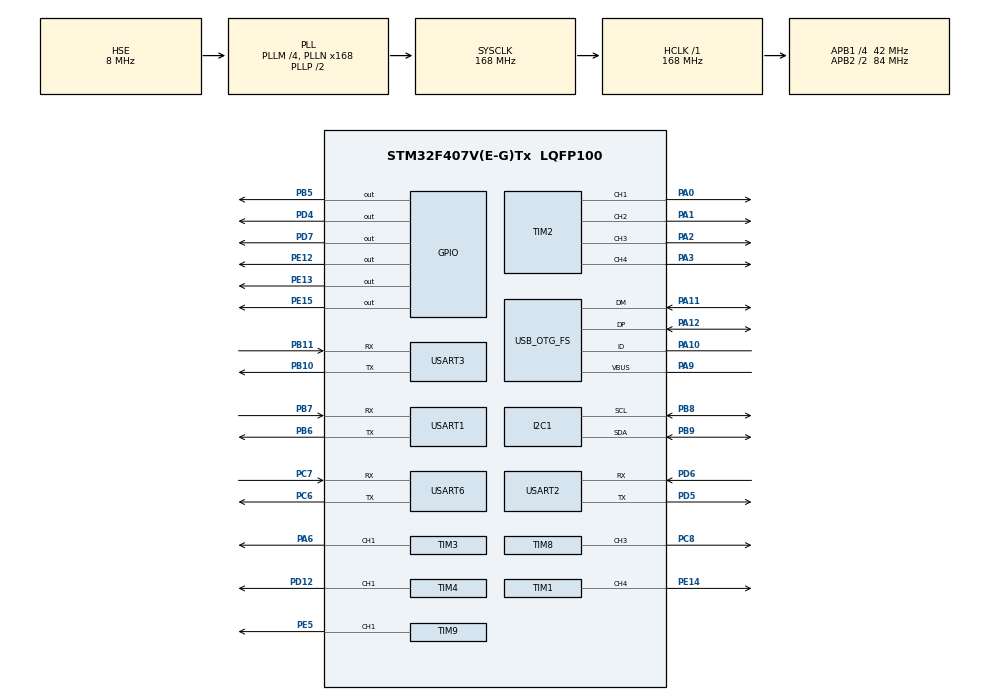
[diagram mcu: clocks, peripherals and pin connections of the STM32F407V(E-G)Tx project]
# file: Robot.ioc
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Dma.I2C1_RX.0.Direction=DMA_PERIPH_TO_MEMORY
Dma.I2C1_RX.0.FIFOMode=DMA_FIFOMODE_DISABLE
Dma.I2C1_RX.0.Instance=DMA1_Stream0
Dma.I2C1_RX.0.MemDataAlignment=DMA_MDATAALIGN_BYTE
Dma.I2C1_RX.0.MemInc=DMA_MINC_ENABLE
Dma.I2C1_RX.0.Mode=DMA_NORMAL
Dma.I2C1_RX.0.PeriphDataAlignment=DMA_PDATAALIGN_BYTE
Dma.I2C1_RX.0.PeriphInc=DMA_PINC_DISABLE
Dma.I2C1_RX.0.Priority=DMA_PRIORITY_LOW
Dma.I2C1_TX.1.Direction=DMA_MEMORY_TO_PERIPH
Dma.I2C1_TX.1.FIFOMode=DMA_FIFOMODE_DISABLE
Dma.I2C1_TX.1.Instance=DMA1_Stream7
Dma.I2C1_TX.1.MemDataAlignment=DMA_MDATAALIGN_BYTE
Dma.I2C1_TX.1.MemInc=DMA_MINC_ENABLE
Dma.I2C1_TX.1.Mode=DMA_NORMAL
Dma.I2C1_TX.1.PeriphDataAlignment=DMA_PDATAALIGN_BYTE
Dma.I2C1_TX.1.PeriphInc=DMA_PINC_DISABLE
Dma.I2C1_TX.1.Priority=DMA_PRIORITY_LOW
Dma.Request0=I2C1_RX
Dma.Request1=I2C1_TX
Dma.Request2=USART2_RX
Dma.Request3=USART2_TX
Dma.Request4=USART3_TX
Dma.Request5=USART3_RX
Dma.USART2_RX.2.Direction=DMA_PERIPH_TO_MEMORY
Dma.USART2_RX.2.FIFOMode=DMA_FIFOMODE_DISABLE
Dma.USART2_RX.2.Instance=DMA1_Stream5
Dma.USART2_RX.2.MemDataAlignment=DMA_MDATAALIGN_BYTE
Dma.USART2_RX.2.MemInc=DMA_MINC_ENABLE
Dma.USART2_RX.2.Mode=DMA_NORMAL
Dma.USART2_RX.2.PeriphDataAlignment=DMA_PDATAALIGN_BYTE
Dma.USART2_RX.2.PeriphInc=DMA_PINC_DISABLE
Dma.USART2_RX.2.Priority=DMA_PRIORITY_LOW
Dma.USART2_TX.3.Direction=DMA_MEMORY_TO_PERIPH
Dma.USART2_TX.3.FIFOMode=DMA_FIFOMODE_DISABLE
Dma.USART2_TX.3.Instance=DMA1_Stream6
Dma.USART2_TX.3.MemDataAlignment=DMA_MDATAALIGN_BYTE
Dma.USART2_TX.3.MemInc=DMA_MINC_ENABLE
Dma.USART2_TX.3.Mode=DMA_NORMAL
Dma.USART2_TX.3.PeriphDataAlignment=DMA_PDATAALIGN_BYTE
Dma.USART2_TX.3.PeriphInc=DMA_PINC_DISABLE
Dma.USART2_TX.3.Priority=DMA_PRIORITY_LOW
Dma.USART3_RX.5.Direction=DMA_PERIPH_TO_MEMORY
Dma.USART3_RX.5.FIFOMode=DMA_FIFOMODE_DISABLE
Dma.USART3_RX.5.Instance=DMA1_Stream1
Dma.USART3_RX.5.MemDataAlignment=DMA_MDATAALIGN_BYTE
Dma.USART3_RX.5.MemInc=DMA_MINC_ENABLE
Dma.USART3_RX.5.Mode=DMA_NORMAL
Dma.USART3_RX.5.PeriphDataAlignment=DMA_PDATAALIGN_BYTE
Dma.USART3_RX.5.PeriphInc=DMA_PINC_DISABLE
Dma.USART3_RX.5.Priority=DMA_PRIORITY_LOW
Dma.USART3_TX.4.Direction=DMA_MEMORY_TO_PERIPH
Dma.USART3_TX.4.FIFOMode=DMA_FIFOMODE_DISABLE
Dma.USART3_TX.4.Instance=DMA1_Stream3
Dma.USART3_TX.4.MemDataAlignment=DMA_MDATAALIGN_BYTE
Dma.USART3_TX.4.MemInc=DMA_MINC_ENABLE
Dma.USART3_TX.4.Mode=DMA_NORMAL
Dma.USART3_TX.4.PeriphDataAlignment=DMA_PDATAALIGN_BYTE
Dma.USART3_TX.4.PeriphInc=DMA_PINC_DISABLE
Dma.USART3_TX.4.Priority=DMA_PRIORITY_LOW
FREERTOS.Tasks01=defaultTask,24,128,StartDefaultTask,Default,NULL,Dynamic,NULL,NULL
I2C1.I2C_Mode=I2C_Fast
Mcu.Family=STM32F4
Mcu.Name=STM32F407V(E-G)Tx
Mcu.Package=LQFP100
NVIC.DMA1_Stream0_IRQn=true\:5\:0\:false\:false\:true\:true\:false\:true\:true
NVIC.DMA1_Stream1_IRQn=true\:5\:0\:false\:false\:true\:true\:false\:true\:true
NVIC.DMA1_Stream3_IRQn=true\:5\:0\:false\:false\:true\:true\:false\:true\:true
NVIC.DMA1_Stream5_IRQn=true\:5\:0\:false\:false\:true\:true\:false\:true\:true
NVIC.DMA1_Stream6_IRQn=true\:5\:0\:false\:false\:true\:true\:false\:true\:true
NVIC.DMA1_Stream7_IRQn=true\:5\:0\:false\:false\:true\:true\:false\:true\:true
NVIC.I2C1_ER_IRQn=true\:6\:0\:true\:false\:true\:true\:true\:true\:true
NVIC.I2C1_EV_IRQn=true\:6\:0\:true\:false\:true\:true\:true\:true\:true
NVIC.PriorityGroup=NVIC_PRIORITYGROUP_4
NVIC.TIM8_TRG_COM_TIM14_IRQn=true\:15\:0\:false\:false\:true\:false\:false\:true\:true
NVIC.TimeBase=TIM8_TRG_COM_TIM14_IRQn
NVIC.TimeBaseIP=TIM14
NVIC.USART2_IRQn=true\:5\:0\:false\:false\:true\:true\:true\:true\:true
NVIC.USART3_IRQn=true\:5\:0\:false\:false\:true\:true\:true\:true\:true
PA0-WKUP.Signal=S_TIM2_CH1_ETR
PA1.Signal=S_TIM2_CH2
PA10.Mode=OTG/Dual_Role_Device
PA10.Signal=USB_OTG_FS_ID
PA11.Mode=OTG/Dual_Role_Device
PA11.Signal=USB_OTG_FS_DM
PA12.Mode=OTG/Dual_Role_Device
PA12.Signal=USB_OTG_FS_DP
PA13.Mode=JTAG_4_pins
PA13.Signal=SYS_JTMS-SWDIO
PA14.Mode=JTAG_4_pins
PA14.Signal=SYS_JTCK-SWCLK
PA15.Mode=JTAG_4_pins
PA15.Signal=SYS_JTDI
PA2.Signal=S_TIM2_CH3
PA3.Signal=S_TIM2_CH4
PA6.Signal=S_TIM3_CH1
PA9.Mode=Activate_VBUS
PA9.Signal=USB_OTG_FS_VBUS
PB10.Mode=Asynchronous
PB10.Signal=USART3_TX
PB11.Mode=Asynchronous
PB11.Signal=USART3_RX
PB3.Mode=JTAG_4_pins
PB3.Signal=SYS_JTDO-SWO
PB5.Signal=GPIO_Output
PB6.Mode=Asynchronous
PB6.Signal=USART1_TX
PB7.Mode=Asynchronous
PB7.Signal=USART1_RX
PB8.Mode=I2C
PB8.Signal=I2C1_SCL
PB9.Mode=I2C
PB9.Signal=I2C1_SDA
PC6.Mode=Asynchronous
PC6.Signal=USART6_TX
PC7.Mode=Asynchronous
PC7.Signal=USART6_RX
PC8.Signal=S_TIM8_CH3
PD12.Signal=S_TIM4_CH1
PD4.Signal=GPIO_Output
PD5.Mode=Asynchronous
PD5.Signal=USART2_TX
PD6.Mode=Asynchronous
PD6.Signal=USART2_RX
PD7.Signal=GPIO_Output
PE12.Signal=GPIO_Output
PE13.Signal=GPIO_Output
PE14.Signal=S_TIM1_CH4
PE15.Signal=GPIO_Output
PE5.Signal=S_TIM9_CH1
PH0-OSC_IN.Mode=HSE-External-Oscillator
PH0-OSC_IN.Signal=RCC_OSC_IN
PH1-OSC_OUT.Mode=HSE-External-Oscillator
PH1-OSC_OUT.Signal=RCC_OSC_OUT
ProjectManager.HeapSize=0x200
ProjectManager.StackSize=0x400
ProjectManager.TargetToolchain=MDK-ARM V5.32
RCC.48MHZClocksFreq_Value=48000000
RCC.AHBFreq_Value=168000000
RCC.APB1CLKDivider=RCC_HCLK_DIV4
RCC.APB1Freq_Value=42000000
RCC.APB1TimFreq_Value=84000000
RCC.APB2CLKDivider=RCC_HCLK_DIV2
RCC.APB2Freq_Value=84000000
RCC.APB2TimFreq_Value=168000000
RCC.CortexFreq_Value=168000000
RCC.HCLKFreq_Value=168000000
RCC.HSE_VALUE=8000000
RCC.HSI_VALUE=16000000
RCC.LSE_VALUE=32768
RCC.PLLM=4
RCC.PLLN=168
RCC.PLLQ=7
RCC.SYSCLKFreq_VALUE=168000000
RCC.SYSCLKSource=RCC_SYSCLKSOURCE_PLLCLK
RCC.VCOOutputFreq_Value=336000000
SH.S_TIM1_CH4.0=TIM1_CH4,PWM Generation4 CH4
SH.S_TIM2_CH1_ETR.0=TIM2_CH1,PWM Generation1 CH1
SH.S_TIM2_CH2.0=TIM2_CH2,PWM Generation2 CH2
SH.S_TIM2_CH3.0=TIM2_CH3,PWM Generation3 CH3
SH.S_TIM2_CH4.0=TIM2_CH4,PWM Generation4 CH4
SH.S_TIM3_CH1.0=TIM3_CH1,PWM Generation1 CH1
SH.S_TIM4_CH1.0=TIM4_CH1,PWM Generation1 CH1
SH.S_TIM8_CH3.0=TIM8_CH3,PWM Generation3 CH3
SH.S_TIM9_CH1.0=TIM9_CH1,PWM Generation1 CH1
TIM1.AutoReloadPreload=TIM_AUTORELOAD_PRELOAD_ENABLE
TIM1.Channel-PWM\ Generation4\ CH4=TIM_CHANNEL_4
TIM2.AutoReloadPreload=TIM_AUTORELOAD_PRELOAD_ENABLE
TIM2.Channel-PWM\ Generation1\ CH1=TIM_CHANNEL_1
TIM2.Channel-PWM\ Generation2\ CH2=TIM_CHANNEL_2
TIM2.Channel-PWM\ Generation3\ CH3=TIM_CHANNEL_3
TIM2.Channel-PWM\ Generation4\ CH4=TIM_CHANNEL_4
TIM3.AutoReloadPreload=TIM_AUTORELOAD_PRELOAD_ENABLE
TIM3.Channel-PWM\ Generation1\ CH1=TIM_CHANNEL_1
TIM4.AutoReloadPreload=TIM_AUTORELOAD_PRELOAD_ENABLE
TIM4.Channel-PWM\ Generation1\ CH1=TIM_CHANNEL_1
TIM8.AutoReloadPreload=TIM_AUTORELOAD_PRELOAD_ENABLE
TIM8.Channel-PWM\ Generation3\ CH3=TIM_CHANNEL_3
TIM9.AutoReloadPreload=TIM_AUTORELOAD_PRELOAD_ENABLE
TIM9.Channel-PWM\ Generation1\ CH1=TIM_CHANNEL_1
USART1.VirtualMode=VM_ASYNC
USART2.VirtualMode=VM_ASYNC
USART3.VirtualMode=VM_ASYNC
USART6.VirtualMode=VM_ASYNC
VP_FREERTOS_VS_CMSIS_V2.Mode=CMSIS_V2
VP_SYS_VS_tim14.Mode=TIM14
board=custom

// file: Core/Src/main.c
/* USER CODE BEGIN Header */
/**
  ******************************************************************************
  * @file           : main.c
  * @brief          : Main program body
  ******************************************************************************
  * @attention
  *
  * Copyright (c) 2026 STMicroelectronics.
  * All rights reserved.
  *
  * This software is licensed under terms that can be found in the LICENSE file
  * in the root directory of this software component.
  * If no LICENSE file comes with this software, it is provided AS-IS.
  *
  ******************************************************************************
  */
/* USER CODE END Header */
#include "main.h"
#include "cmsis_os.h"
#include "dma.h"
#include "i2c.h"
#include "tim.h"
#include "usart.h"
#include "usb_otg.h"
#include "gpio.h"

void SystemClock_Config(void);
void MX_FREERTOS_Init(void);

int main(void)
{

  /* MCU Configuration--------------------------------------------------------*/

  /* Reset of all peripherals, Initializes the Flash interface and the Systick. */
  HAL_Init();

  /* Configure the system clock */
  SystemClock_Config();

  /* USER CODE BEGIN SysInit */
  /* 上电延时, 等电源/电压稳定后再初始化外设和启动 RTOS.
   * 放在 HAL_Init() 之后(Systick 已启动, HAL_Delay 可用),
   * 在外设初始化之前, 确保电压稳定后再配置 I2C/定时器等敏感外设. */
  HAL_Delay(3000);
  /* USER CODE END SysInit */

  /* Initialize all configured peripherals */
  MX_GPIO_Init();
  MX_DMA_Init();
  MX_I2C1_Init();
  MX_TIM2_Init();
  MX_TIM3_Init();
  MX_TIM4_Init();
  MX_TIM8_Init();
  MX_TIM9_Init();
  MX_USART1_UART_Init();
  MX_USART2_UART_Init();
  MX_USART3_UART_Init();
  MX_USART6_UART_Init();
  MX_USB_OTG_FS_USB_Init();
  MX_TIM1_Init();

  /* Init scheduler */
  osKernelInitialize();  /* Call init function for freertos objects (in cmsis_os2.c) */
  MX_FREERTOS_Init();

  /* Start scheduler */
  osKernelStart();

  /* We should never get here as control is now taken by the scheduler */

  /* Infinite loop */
  while (1)
  {

  }
}

void SystemClock_Config(void)
{
  RCC_OscInitTypeDef RCC_OscInitStruct = {0};
  RCC_ClkInitTypeDef RCC_ClkInitStruct = {0};

  /** Configure the main internal regulator output voltage
  */
  __HAL_RCC_PWR_CLK_ENABLE();
  __HAL_PWR_VOLTAGESCALING_CONFIG(PWR_REGULATOR_VOLTAGE_SCALE1);

  /** Initializes the RCC Oscillators according to the specified parameters
  * in the RCC_OscInitTypeDef structure.
  */
  RCC_OscInitStruct.OscillatorType = RCC_OSCILLATORTYPE_HSE;
  RCC_OscInitStruct.HSEState = RCC_HSE_ON;
  RCC_OscInitStruct.PLL.PLLState = RCC_PLL_ON;
  RCC_OscInitStruct.PLL.PLLSource = RCC_PLLSOURCE_HSE;
  RCC_OscInitStruct.PLL.PLLM = 4;
  RCC_OscInitStruct.PLL.PLLN = 168;
  RCC_OscInitStruct.PLL.PLLP = RCC_PLLP_DIV2;
  RCC_OscInitStruct.PLL.PLLQ = 7;
  if (HAL_RCC_OscConfig(&RCC_OscInitStruct) != HAL_OK)
  {
    Error_Handler();
  }

  /** Initializes the CPU, AHB and APB buses clocks
  */
  RCC_ClkInitStruct.ClockType = RCC_CLOCKTYPE_HCLK|RCC_CLOCKTYPE_SYSCLK
                              |RCC_CLOCKTYPE_PCLK1|RCC_CLOCKTYPE_PCLK2;
  RCC_ClkInitStruct.SYSCLKSource = RCC_SYSCLKSOURCE_PLLCLK;
  RCC_ClkInitStruct.AHBCLKDivider = RCC_SYSCLK_DIV1;
  RCC_ClkInitStruct.APB1CLKDivider = RCC_HCLK_DIV4;
  RCC_ClkInitStruct.APB2CLKDivider = RCC_HCLK_DIV2;

  if (HAL_RCC_ClockConfig(&RCC_ClkInitStruct, FLASH_LATENCY_5) != HAL_OK)
  {
    Error_Handler();
  }
}

void HAL_TIM_PeriodElapsedCallback(TIM_HandleTypeDef *htim)
{
  if (htim->Instance == TIM14)
  {
    HAL_IncTick();
  }
}

void Error_Handler(void)
{
  __disable_irq();
  while (1)
  {
  }
}

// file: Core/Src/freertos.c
/* USER CODE BEGIN Header */
/**
 ******************************************************************************
 * File Name          : freertos.c
 * Description        : Code for freertos applications
 ******************************************************************************
 * @attention
 *
 * Copyright (c) 2026 STMicroelectronics.
 * All rights reserved.
 *
 * This software is licensed under terms that can be found in the LICENSE file
 * in the root directory of this software component.
 * If no LICENSE file comes with this software, it is provided AS-IS.
 *
 ******************************************************************************
 */
/* USER CODE END Header */

#include "FreeRTOS.h"
#include "task.h"
#include "main.h"
#include "cmsis_os.h"

/* USER CODE BEGIN Includes */
#include "chassis.h"
#include "clamp.h"
#include "stepper.h"
#include "mpu6050.h"
#include "usart.h"
#include "camera_align.h"
#include "camera_color.h"
#include <stdio.h>
#include <stdarg.h>
#include <string.h>
#include <stdbool.h>
#include <math.h>
#include "semphr.h"
#include "taskflow.h"
/* USER CODE END Includes */

/* USER CODE BEGIN Variables */
osThreadId_t chassisTaskHandle;
const osThreadAttr_t chassisTask_attributes = {
    .name = "chassisTask",
    .stack_size = 512 * 4,
    .priority = (osPriority_t)osPriorityAboveNormal,
};

/* 陀螺仪任务(DMA 异步读取 + yaw 积分 + 注入 chassis).
 * 优先级高于 chassisTask, 但因为用 DMA+信号量异步, 等待期间真正挂起,
 * 不会抢占 chassisTask 的 1ms 控制环. */
osThreadId_t gyroTaskHandle;
const osThreadAttr_t gyroTask_attributes = {
    .name = "gyroTask",
    .stack_size = 512 * 4,
    .priority = (osPriority_t)osPriorityHigh,
};

/* 夹具控制任务(带轮步进电机梯形加减速 1ms 控制环) */
osThreadId_t clampTaskHandle;
const osThreadAttr_t clampTask_attributes = {
    .name = "clampTask",
    .stack_size = 512 * 4,
    .priority = (osPriority_t)osPriorityAboveNormal,
};
/* USER CODE END Variables */
/* Definitions for defaultTask */
osThreadId_t defaultTaskHandle;
const osThreadAttr_t defaultTask_attributes = {
  .name = "defaultTask",
  .stack_size = 128 * 4,
  .priority = (osPriority_t) osPriorityNormal,
};

/* USER CODE BEGIN FunctionPrototypes */
void StartChassisTask(void *argument);
void StartGyroTask(void *argument);
void StartClampTask(void *argument);

/* I2C DMA 完成信号量(gyroTask 与 DMA 中断同步用) */
static SemaphoreHandle_t g_i2c_dma_sem = NULL;

/* USART2 十字检测信号量 (IDLE 中断唤醒 defaultTask) */
static SemaphoreHandle_t g_uart2_rx_sem = NULL;
/* USER CODE END FunctionPrototypes */

void StartDefaultTask(void *argument);

void MX_FREERTOS_Init(void); /* (MISRA C 2004 rule 8.1) */

void MX_FREERTOS_Init(void) {
  /* USER CODE BEGIN Init */
  chassis_init();
  clamp_init();        /* 夹具控制层(带轮步进电机梯形曲线规划器) */
  Stepper_Init();      /* 配置 5 个步进定时器(Prescaler/ARR/占空比), 不立即转 */
  camera_align_init(); /* 摄像头地标校准模块(USART2 + DMA + 信号量) */
  camera_color_init(); /* 摄像头颜色检测模块(USART3 + DMA + 信号量) */
  /* MPU6050 初始化放在 gyroTask 里(因为它需要 HAL_Delay, 不能在内核启动前调) */
  /* USER CODE END Init */

  /* Create the thread(s) */
  /* creation of defaultTask */
  defaultTaskHandle = osThreadNew(StartDefaultTask, NULL, &defaultTask_attributes);

  /* USER CODE BEGIN RTOS_THREADS */
  chassisTaskHandle = osThreadNew(StartChassisTask, NULL, &chassisTask_attributes);
  gyroTaskHandle = osThreadNew(StartGyroTask, NULL, &gyroTask_attributes);
  clampTaskHandle = osThreadNew(StartClampTask, NULL, &clampTask_attributes);
  /* USER CODE END RTOS_THREADS */

}

void StartDefaultTask(void *argument)
{
  /* USER CODE BEGIN StartDefaultTask */
  (void)argument;
  taskflow_run();
  /* USER CODE END StartDefaultTask */
}

/* USER CODE BEGIN Application */

/* 陀螺仪任务: DMA 异步读 MPU6050 + yaw 积分 + 注入 chassis.
 * 关键: 用 DMA 异步, 读期间任务挂起(osDelayUntil), 不会死占 CPU.
 *       即便优先级高于 chassisTask, 也只在"处理数据"的极短时间内占用,
 *       chassisTask 的 1ms 控制环不受影响. */
void StartGyroTask(void *argument)
{
  (void)argument;

  /* 初始化 MPU6050(此时调度器已启动, 可安全用 HAL_Delay) */
  uint8_t ret = MPU6050_Init();
  if (ret != 0)
  {
    chassis_uart_log("[gyro] MPU6050 init failed, code=%d (run on odom only)\r\n", ret);
    /* 初始化失败不进循环, 但 chassis 会自动退化用里程计 theta */
    for (;;)
    {
      osDelay(1000);
    }
  }
  chassis_uart_log("[gyro] MPU6050 init ok, calibrating yaw bias (keep still)...\r\n");

  /* 上电静止校准零漂: 预热丢弃 + 3sigma 鲁棒均值 + 记录温度基准.
   * 采样数受 MPU6050_CALIB_BUF(256) 限制; 校准期间车必须静止!
   * 预热约 0.4s + 采集约 0.5s, 共约 0.9s. */
  MPU6050_CalibrateYaw(256);
  chassis_uart_log("[gyro] calib done, T=%.1fC; runtime bias-tracking & auto-recalib ON\r\n",
                   MPU6050_GetTempC());

  /* 创建 DMA 完成信号量 */
  g_i2c_dma_sem = xSemaphoreCreateBinary();
  if (g_i2c_dma_sem == NULL)
  {
    chassis_uart_log("[gyro] sem create failed\r\n");
    for (;;)
      osDelay(1000);
  }

  TickType_t last = xTaskGetTickCount();
  const float dt = 0.001f; /* 1ms 节拍, 与 chassis_tick 一致 */

  for (;;)
  {
    /* 1) 启动 DMA 异步读(非阻塞, 立即返回) */
    MPU6050_StartReadDMA();

    /* 2) 信号量等待 DMA 完成(任务真正挂起, CPU 让给 chassisTask).
     *    DMA 在 I2C1_EV 中断完成后, HAL_I2C_MemRxCpltCallback 释放信号量唤醒本任务.
     *    超时 5ms 保护(I2C 异常时不至于永久卡死). */
    if (xSemaphoreTake(g_i2c_dma_sem, pdMS_TO_TICKS(5)) == pdTRUE)
    {
      /* 3) DMA 完成后, 数据已解析, 积分 yaw 并注入 chassis */
      MPU6050_IntegrateYaw(dt);
      chassis_feed_gyro(MPU6050_GetYaw());
    }

    /* 4) 1ms 节拍(vTaskDelayUntil 保证严格 1ms 周期, DMA 通常 0.5ms 内完成) */
    vTaskDelayUntil(&last, pdMS_TO_TICKS(1));
  }
}

/* HAL I2C 内存读取完成回调(DMA 把 14 字节搬完后, HAL 在中断里调本函数).
 * 这里解析数据 + 释放信号量唤醒 gyroTask. 注意: 运行在中断上下文, 要简短. */
void HAL_I2C_MemRxCpltCallback(I2C_HandleTypeDef *hi2c)
{
  if (hi2c->Instance == I2C1)
  {
    MPU6050_OnDMAComplete(); /* 解析数据 + 置完成标志 */
    BaseType_t hpw = pdFALSE;
    if (g_i2c_dma_sem != NULL)
    {
      xSemaphoreGiveFromISR(g_i2c_dma_sem, &hpw);
      portYIELD_FROM_ISR(hpw);
    }
  }
}

/* 1ms 控制层: 梯形曲线 + 麦轮逆解 + 里程计.
 * 注意: 本任务严格 1ms 节拍, 绝不做阻塞操作(如串口打印), 否则破坏控制环精度.
 *       打印/指令编排交给低优先级的 defaultTask. */
void StartChassisTask(void *argument)
{
  (void)argument;
  TickType_t last = xTaskGetTickCount();

  for (;;)
  {
    chassis_tick(); /* 推进底盘状态机(内部 dt=1ms) */

    /* 把 chassis 算出的 4 轮目标线速度(mm/s) 下发给步进电机层 */
    float w[4];
    chassis_get_wheel_speed(w);
    Stepper_SetWheelSpeedAll(w);

    vTaskDelayUntil(&last, pdMS_TO_TICKS(1)); /* 严格 1ms */
  }
}

/* 夹具 1ms 控制层: 梯形曲线 + 高度步进电机 PWM.
 * 对标 chassisTask, 严格 1ms 节拍, 绝不做阻塞操作. */
void StartClampTask(void *argument)
{
  (void)argument;
  TickType_t last = xTaskGetTickCount();

  for (;;)
  {
    clamp_tick(); /* 推进夹具状态机(内部 dt=1ms) */

    vTaskDelayUntil(&last, pdMS_TO_TICKS(1)); /* 严格 1ms */
  }
}

/* USER CODE END Application */
